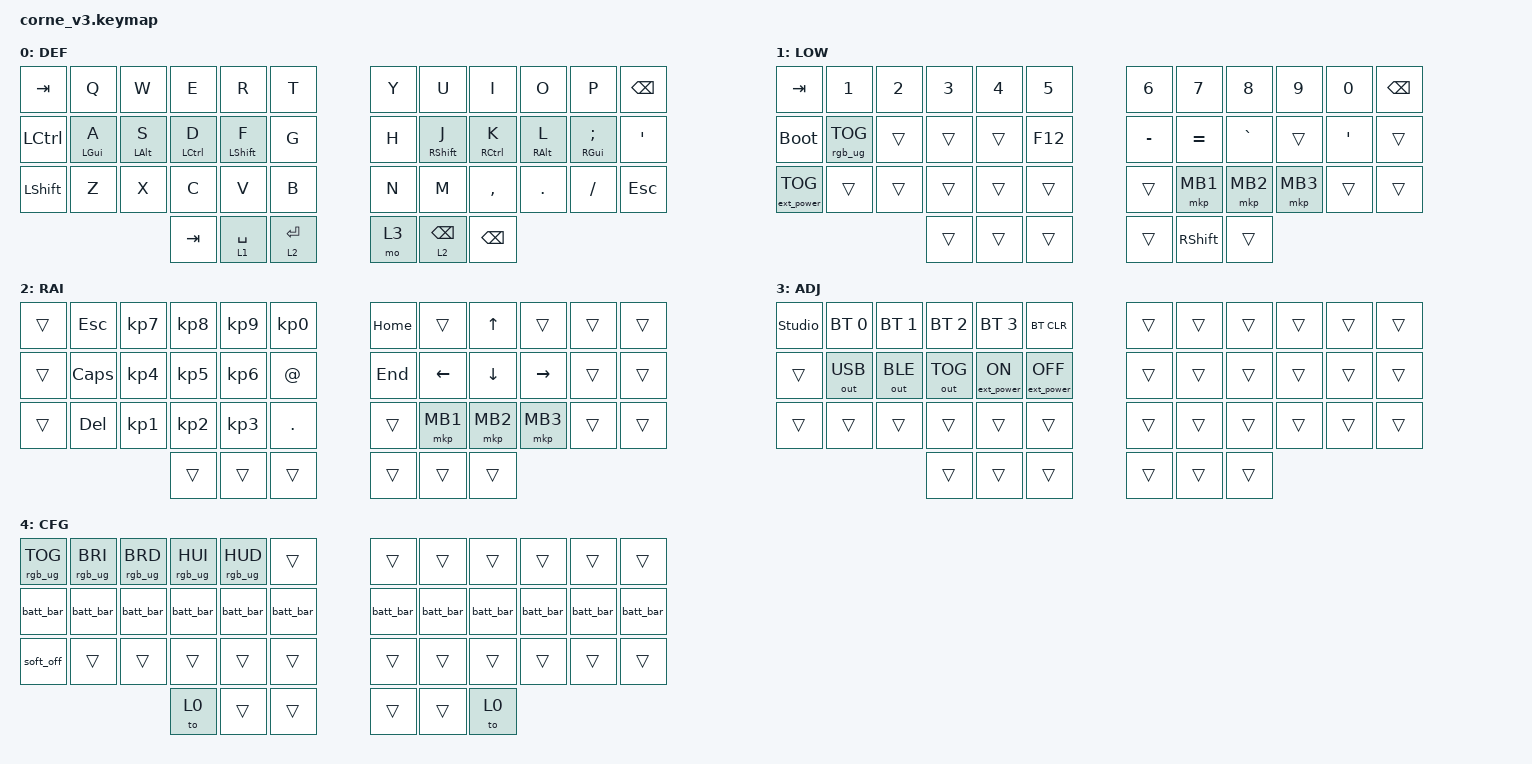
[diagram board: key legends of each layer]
/*
 * Copyright (c) 2020 The ZMK Contributors
 *
 * SPDX-License-Identifier: MIT
 */

#include <behaviors.dtsi>
#include <dt-bindings/zmk/bt.h>
#include <dt-bindings/zmk/keys.h>
#include <dt-bindings/zmk/rgb.h>
#include <dt-bindings/zmk/ext_power.h>
#include <dt-bindings/zmk/mouse.h>
#include <dt-bindings/zmk/outputs.h>

/ {
    behaviors {
        hm: homerow_mods {
            compatible = "zmk,behavior-hold-tap";
            label = "HOMEROW_MODS";
            #binding-cells = <2>;
            tapping-term-ms = <200>;
            quick_tap_ms = <0>;
            flavor = "tap-preferred";
            bindings = <&kp>, <&kp>;

            quick-tap-ms = <180>;
            global-quick-tap;
        };

        ltq: ltq {
            compatible = "zmk,behavior-hold-tap";
            label = "LTQ";
            bindings = <&mo>, <&kp>;

            #binding-cells = <2>;
            tapping-term-ms = <600>;
            global-quick-tap;
            quick-tap-ms = <400>;
        };

        /* Local battery % as green middle-row LED bar (map in batt_bar.c). */
        batt_bar: batt_bar {
            compatible = "corne,behavior-batt-bar";
            #binding-cells = <0>;
            hold-ms = <2500>;
        };

        /* Central→right: layer/USB/BTn + ACTIVE (wakes right idle; poke only on right) */
        st_sync: st_sync {
            compatible = "corne,behavior-status-sync";
            #binding-cells = <1>;
        };
    };

    combos {
        compatible = "zmk,combos";

        left_bkt {
            bindings = <&kp LEFT_BRACKET>;
            key-positions = <4 3>;
            timeout-ms = <50>;
        };

        right_bkt {
            bindings = <&kp RBKT>;
            key-positions = <7 8>;
            timeout-ms = <50>;
        };

        left_par {
            bindings = <&kp LEFT_PARENTHESIS>;
            key-positions = <15 16>;
            timeout-ms = <50>;
        };

        right_par {
            bindings = <&kp RIGHT_PARENTHESIS>;
            key-positions = <19 20>;
            timeout-ms = <50>;
        };

        left_brace {
            bindings = <&kp LEFT_BRACE>;
            key-positions = <27 28>;
            timeout-ms = <50>;
        };

        right_brace {
            bindings = <&kp RIGHT_BRACE>;
            key-positions = <32 31>;
            timeout-ms = <50>;
        };

        bac {
            bindings = <&kp BACKSLASH>;
            key-positions = <5 6>;
        };

        pipe {
            bindings = <&kp PIPE>;
            key-positions = <17 18>;
        };

        /*
         * CFG layer: outer thumbs on both halves (positions 36 + 41).
         * Same combo toggles CFG off. Hard to hit by accident.
         */
        cfg_combo {
            bindings = <&tog 4>;
            key-positions = <36 41>;
            timeout-ms = <120>;
        };
    };

    keymap {
        compatible = "zmk,keymap";

        default_layer {
            display-name = "DEF";
            bindings = <
&kp TAB    &kp Q           &kp W           &kp E        &kp R             &kp T        &kp Y  &kp U             &kp I          &kp O            &kp P               &kp BSPC
&kp LCTRL  &hm LEFT_GUI A  &hm LEFT_ALT S  &hm LCTRL D  &hm LEFT_SHIFT F  &kp G        &kp H  &hm RSHIFT J      &hm RCTRL K    &hm RIGHT_ALT L  &hm RGUI SEMICOLON  &kp SQT
&kp LSHFT  &kp Z           &kp X           &kp C        &kp V             &kp B        &kp N  &kp M             &kp COMMA      &kp DOT          &kp FSLH            &kp ESC
                                           &kp TAB      &lt 1 SPACE       &lt 2 ENTER  &mo 3  &ltq 2 BACKSPACE  &kp BACKSPACE
            >;
        };

        lower_layer {
            display-name = "LOW";
            bindings = <
&kp TAB      &kp N1  &kp N2  &kp N3  &kp N4  &kp N5   &kp N6     &kp N7           &kp N8     &kp N9  &kp N0   &kp BSPC
&bootloader  &rgb_ug RGB_TOG  &trans  &trans  &trans  &kp F12  &kp MINUS  &kp EQUAL        &kp GRAVE  &trans  &kp SQT  &trans
&ext_power EP_TOG       &trans  &trans  &trans  &trans  &trans   &trans     &mkp MB1         &mkp MB2    &mkp MB3  &trans   &trans
                             &trans  &trans  &trans   &trans     &kp RIGHT_SHIFT  &trans
            >;
        };

        raise_layer {
            display-name = "RAI";
            /* Trackball scrolls while this layer is held (see corne_v3_left.overlay) */
            bindings = <
&trans  &kp ESC     &kp KP_NUMBER_7  &kp KP_NUMBER_8  &kp KP_NUMBER_9  &kp KP_NUMBER_0  &kp HOME  &trans    &kp UP    &trans     &trans  &trans
&trans  &kp CAPS    &kp KP_NUMBER_4  &kp KP_NUMBER_5  &kp KP_NUMBER_6  &kp AT           &kp END   &kp LEFT  &kp DOWN  &kp RIGHT  &trans  &trans
&trans  &kp DELETE  &kp KP_NUMBER_1  &kp KP_NUMBER_2  &kp KP_NUMBER_3  &kp DOT          &trans    &mkp MB1  &mkp MB2  &mkp MB3   &trans  &trans
                                     &trans           &trans           &trans           &trans    &trans    &trans
            >;
        };

        layer_3 {
            display-name = "ADJ";
            bindings = <
&studio_unlock  &bt BT_SEL 0  &bt BT_SEL 1  &bt BT_SEL 2  &bt BT_SEL 3  &bt BT_CLR  &trans  &trans  &trans  &trans  &trans  &trans
&trans  &out OUT_USB  &out OUT_BLE  &out OUT_TOG  &ext_power EP_ON  &ext_power EP_OFF  &trans  &trans  &trans  &trans  &trans  &trans
&trans  &trans        &trans        &trans        &trans            &trans            &trans  &trans  &trans  &trans  &trans  &trans
                                    &trans        &trans            &trans            &trans  &trans  &trans
            >;
        };

        /*
         * CFG — RGB on/off + brightness + hue, battery bar, soft-off.
         * Enter/exit: outer thumbs together (combo 36+41), or thumb &to 0.
         * Middle row: &batt_bar — green LED bar = this half's battery %.
         */
        cfg_layer {
            display-name = "CFG";
            bindings = <
&rgb_ug RGB_TOG  &rgb_ug RGB_BRI  &rgb_ug RGB_BRD  &rgb_ug RGB_HUI  &rgb_ug RGB_HUD  &trans
    &trans  &trans  &trans  &trans  &trans  &trans
&batt_bar  &batt_bar  &batt_bar  &batt_bar  &batt_bar  &batt_bar
    &batt_bar  &batt_bar  &batt_bar  &batt_bar  &batt_bar  &batt_bar
&soft_off  &trans  &trans  &trans  &trans  &trans
    &trans  &trans  &trans  &trans  &trans  &trans
                             &to 0  &trans  &trans   &trans     &trans  &to 0
            >;
        };

        /* Extra empty layers for ZMK Studio (ignored unless Studio build) */
        studio_extra1 {
            status = "reserved";
        };
        studio_extra2 {
            status = "reserved";
        };
    };
};
